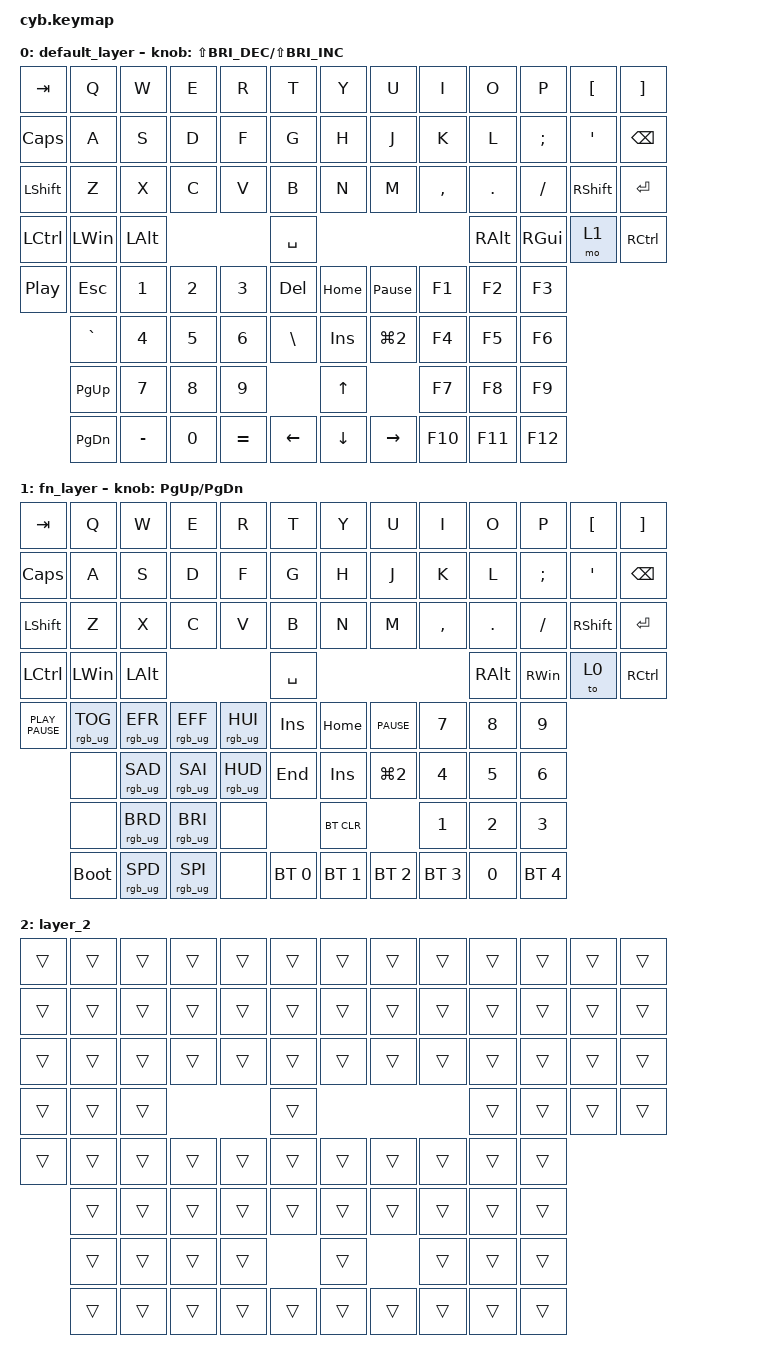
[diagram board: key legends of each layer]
/*
 * Copyright (c) 2020 The ZMK Contributors
 *
 * SPDX-License-Identifier: MIT
 */

#include <behaviors.dtsi>
#include <dt-bindings/zmk/bt.h>
#include <dt-bindings/zmk/keys.h>
#include <dt-bindings/zmk/rgb.h>

/ {
    keymap0: keymap {
        compatible = "zmk,keymap";

        default_layer {
            // --------------------------------------------------------------------------------------------------------------------------------------------------------------
            //  | TAB  |  Q  |  W  |  E  |  R  |  T  |  Y  |  U  |  I  |  O  |  P  |     [    |   ]   |
            //  | CAPS  |  A  |  S  |  D  |  F  |  G  |  H  |  J  |  K  |  L  |  ;  |     '   |  BKSP |
            //  |  SHIFT  |  Z  |  X  |  C  |  V  |  B  |  N  |  M  |  ,  |  .  |  /  | SHIFT |   1   |
            //  |  CTL  |  fn  |  ALT  |           SPACE              |  ALT  |  CTL  |   1   |   1   |
            //  |  1  ||  1  ||  2  |  3  |   4  ||  5  |  6  |  7  ||  8  |  9  |  1  |
            //         |  1  ||  2  |  3  |   4  ||  5  |  6  |  7  ||  8  |  9  |  1  |
            //         |  1  ||  2  |  3  |   4  |      |  6  |      |  8  |  9  |  1  |
            //         |  1  ||  2  |  3  |   4  ||  5  |  6  |  7  ||  8  |  9  |  1  |
            // --------------------------------------------------------------------------------------------------------------------------------------------------------------

            bindings = <
&kp TAB           &kp Q          &kp W         &kp E         &kp R         &kp T          &kp Y       &kp U            &kp I      &kp O          &kp P          &kp LBKT   &kp RBKT
&kp CLCK          &kp A          &kp S         &kp D         &kp F         &kp G          &kp H       &kp J            &kp K      &kp L          &kp SEMI       &kp SQT    &kp BSPC
&kp LSHFT         &kp Z          &kp X         &kp C         &kp V         &kp B          &kp N       &kp M            &kp COMMA  &kp DOT        &kp FSLH       &kp RSHFT  &kp ENTER
&kp LCTRL         &kp LEFT_WIN   &kp LEFT_ALT                              &kp SPACE                                              &kp RIGHT_ALT  &kp RIGHT_GUI  &mo 1      &kp RCTRL
&kp C_PLAY_PAUSE  &kp ESC        &kp N1        &kp N2        &kp N3        &kp DELETE     &kp HOME    &kp PAUSE_BREAK  &kp F1     &kp F2         &kp F3
                  &kp GRAVE      &kp NUMBER_4  &kp NUMBER_5  &kp NUMBER_6  &kp BACKSLASH  &kp INSERT  &kp LG(N2)       &kp F4     &kp F5         &kp F6
                  &kp PAGE_UP    &kp NUMBER_7  &kp NUMBER_8  &kp NUMBER_9                 &kp UP                       &kp F7     &kp F8         &kp F9
                  &kp PAGE_DOWN  &kp MINUS     &kp N0        &kp EQUAL     &kp LEFT       &kp DOWN    &kp RIGHT        &kp F10    &kp F11        &kp F12
            >;

            // 定义旋钮

            sensor-bindings = <&inc_dec_kp LS(C_BRI_DEC) LS(C_BRI_INC)>;

            // 定义旋钮
        };

        fn_layer {
            // --------------------------------------------------------------------------------------------------------------------------------------------------------------
            //  | TAB  |  Q  |  W  |  E  |  R  |  T  |  Y  |  U  |  I  |  O  |  P  |     [    |   ]   |
            //  | CAPS  |  A  |  S  |  D  |  F  |  G  |  H  |  J  |  K  |  L  |  ;  |     '   |  BKSP |
            //  |  SHIFT  |  Z  |  X  |  C  |  V  |  B  |  N  |  M  |  ,  |  .  |  /  | SHIFT |   1   |
            //  |  CTL  |  fn  |  ALT  |           SPACE              |  ALT  |  CTL  |   1   |   1   |
            //  |  1  ||  2  ||  2  |  3  |   4  ||  5  |  6  |  7  ||  8  |  9  |  1  |
            //         |  1  ||  2  |  3  |   4  ||  5  |  6  |  7  ||  8  |  9  |  1  |
            //         |  1  ||  2  |  3  |   4  |      |  6  |      |  8  |  9  |  1  |
            //         |  1  ||  2  |  3  |   4  ||  5  |  6  |  7  ||  8  |  9  |  1  |
            // --------------------------------------------------------------------------------------------------------------------------------------------------------------

            bindings = <
&kp TAB           &kp Q            &kp W            &kp E            &kp R            &kp T         &kp Y         &kp U             &kp I         &kp O     &kp P         &kp LBKT   &kp RBKT
&kp CLCK          &kp A            &kp S            &kp D            &kp F            &kp G         &kp H         &kp J             &kp K         &kp L     &kp SEMI      &kp SQT    &kp BSPC
&kp LSHFT         &kp Z            &kp X            &kp C            &kp V            &kp B         &kp N         &kp M             &kp COMMA     &kp DOT   &kp FSLH      &kp RSHFT  &kp ENTER
&kp LCTRL         &kp LEFT_WIN     &kp LALT                                           &kp SPACE                                                   &kp RALT  &kp RWIN      &to 0      &kp RIGHT_CONTROL
&kp K_PLAY_PAUSE  &rgb_ug RGB_TOG  &rgb_ug RGB_EFR  &rgb_ug RGB_EFF  &rgb_ug RGB_HUI  &kp INS       &kp HOME      &kp C_PAUSE       &kp N7        &kp N8    &kp N9
                  &none            &rgb_ug RGB_SAD  &rgb_ug RGB_SAI  &rgb_ug RGB_HUD  &kp END       &kp INSERT    &kp LG(NUMBER_2)  &kp N4        &kp N5    &kp N6
                  &none            &rgb_ug RGB_BRD  &rgb_ug RGB_BRI  &none                          &bt BT_CLR                      &kp N1        &kp N2    &kp N3
                  &bootloader      &rgb_ug RGB_SPD  &rgb_ug RGB_SPI  &none            &bt BT_SEL 0  &bt BT_SEL 1  &bt BT_SEL 2      &bt BT_SEL 3  &kp N0    &bt BT_SEL 4
            >;

            // 定义旋钮

            sensor-bindings = <&inc_dec_kp PAGE_UP PAGE_DOWN>;

            // 定义旋钮
        };

        layer_2 {
            bindings = <
&trans  &trans  &trans  &trans  &trans  &trans  &trans  &trans  &trans  &trans  &trans  &trans  &trans
&trans  &trans  &trans  &trans  &trans  &trans  &trans  &trans  &trans  &trans  &trans  &trans  &trans
&trans  &trans  &trans  &trans  &trans  &trans  &trans  &trans  &trans  &trans  &trans  &trans  &trans
&trans  &trans  &trans                  &trans                          &trans  &trans  &trans  &trans
&trans  &trans  &trans  &trans  &trans  &trans  &trans  &trans  &trans  &trans  &trans
        &trans  &trans  &trans  &trans  &trans  &trans  &trans  &trans  &trans  &trans
        &trans  &trans  &trans  &trans          &trans          &trans  &trans  &trans
        &trans  &trans  &trans  &trans  &trans  &trans  &trans  &trans  &trans  &trans
            >;
        };
    };
};
